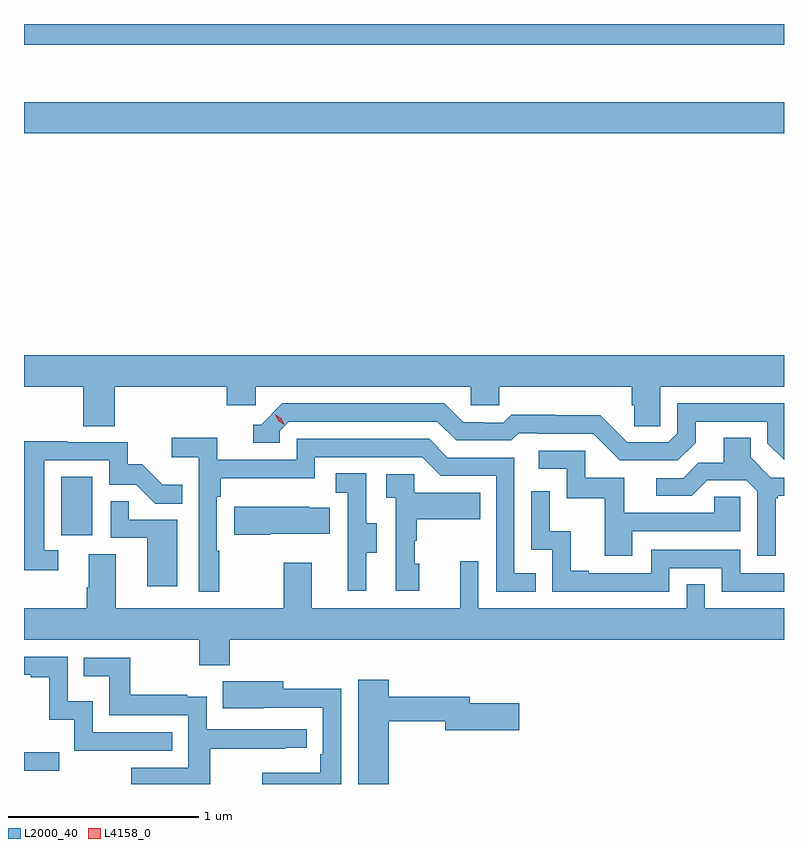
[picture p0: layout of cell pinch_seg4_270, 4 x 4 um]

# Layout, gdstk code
import gdstk
lib = gdstk.Library(unit=1e-6, precision=1e-09)
def R(c, l, rs):  # rectangles x0, y0, x1, y1
    for r in rs: c.add(gdstk.rectangle(r[:2], r[2:], *l))
def P(c, l, *ps):  # polygons
    for p in ps: c.add(gdstk.Polygon(p, *l))
L2000_40 = (2000, 40)
L4158_0 = (4158, 0)

pinch_seg4_270 = lib.new_cell('pinch_seg4_270')
R(pinch_seg4_270, L2000_40, [(923.699,818.775,923.884,818.872), (923.894,820.014,924.058,820.321), (923.699,822.128,927.699,822.292)])
P(pinch_seg4_270, L2000_40, [(927.699,822.704),(927.502,822.704),(927.502,822.702),(923.699,822.702),(923.699,822.594),(927.699,822.594)],
  [(923.699,820.796),(924.011,820.796),(924.011,820.588),(924.176,820.588),(924.176,820.796),(924.767,820.796),(924.767,820.698),(924.918,820.698),(924.918,820.796),(926.049,820.796),(926.049,820.698),(926.199,820.698),(926.199,820.796),(926.897,820.796),(926.897,820.698),(926.911,820.698),(926.911,820.588),(927.048,820.588),(927.048,820.796),(927.699,820.796),(927.699,820.96),(923.699,820.96)],
  [(927.235,820.501),(927.235,820.611),(927.612,820.611),(927.612,820.497),(927.699,820.41),(927.699,820.707),(927.138,820.707),(927.138,820.551),(927.09,820.503),(926.874,820.503),(926.732,820.645),(926.496,820.645),(926.496,820.648),(926.263,820.648),(926.221,820.605),(926.118,820.605),(926.118,820.608),(926.011,820.608),(925.912,820.707),(925.059,820.707),(924.948,820.596),(924.905,820.596),(924.905,820.5),(925.044,820.5),(925.044,820.563),(925.092,820.611),(925.875,820.611),(925.974,820.512),(926.263,820.512),(926.302,820.551),(926.401,820.551),(926.401,820.548),(926.694,820.548),(926.835,820.407),(927.141,820.407)],
  [(924.727,819.932),(924.714,819.932),(924.714,820.217),(924.734,820.217),(924.734,820.313),(925.23,820.313),(925.23,820.425),(925.794,820.425),(925.893,820.326),(926.184,820.326),(926.184,819.717),(926.393,819.717),(926.393,819.813),(926.28,819.813),(926.28,820.422),(925.93,820.422),(925.831,820.521),(925.134,820.521),(925.134,820.41),(924.716,820.41),(924.716,820.526),(924.477,820.526),(924.477,820.424),(924.618,820.424),(924.618,819.717),(924.727,819.717)],
  [(927.655,820.209),(927.667,820.209),(927.667,820.22),(927.699,820.22),(927.699,820.317),(927.63,820.317),(927.523,820.424),(927.523,820.526),(927.383,820.526),(927.383,820.394),(927.248,820.394),(927.168,820.314),(927.027,820.314),(927.027,820.221),(927.214,820.221),(927.295,820.302),(927.501,820.302),(927.558,820.245),(927.558,819.906),(927.655,819.906)],
  [(923.878,819.933),(923.805,819.933),(923.805,820.407),(924.147,820.407),(924.147,820.278),(924.291,820.278),(924.389,820.18),(924.533,820.18),(924.533,820.279),(924.429,820.279),(924.322,820.386),(924.246,820.386),(924.246,820.503),(923.927,820.503),(923.927,820.508),(923.699,820.508),(923.699,819.828),(923.878,819.828)],
  [(926.899,820.035),(927.468,820.035),(927.468,820.215),(927.331,820.215),(927.331,820.131),(926.857,820.131),(926.857,820.317),(926.652,820.317),(926.652,820.458),(926.409,820.458),(926.409,820.362),(926.556,820.362),(926.556,820.209),(926.755,820.209),(926.755,819.906),(926.899,819.906)],
  [(925.501,819.922),(925.555,819.922),(925.555,820.077),(925.5,820.077),(925.5,820.34),(925.341,820.34),(925.341,820.237),(925.404,820.237),(925.404,819.933),(925.403,819.933),(925.403,819.72),(925.501,819.72)],
  [(925.78,819.864),(925.755,819.864),(925.755,819.983),(925.765,819.983),(925.765,820.097),(926.099,820.097),(926.099,820.237),(925.752,820.237),(925.752,820.335),(925.605,820.335),(925.605,820.211),(925.656,820.211),(925.656,819.72),(925.78,819.72)],
  [(927.096,819.84),(927.372,819.84),(927.372,819.717),(927.699,819.717),(927.699,819.813),(927.468,819.813),(927.468,819.936),(927,819.936),(927,819.813),(926.671,819.813),(926.671,819.826),(926.576,819.826),(926.576,820.034),(926.466,820.034),(926.466,820.246),(926.37,820.246),(926.37,819.936),(926.478,819.936),(926.478,819.717),(927.096,819.717)],
  [(924.505,820.095),(924.251,820.095),(924.251,820.193),(924.156,820.193),(924.156,819.999),(924.347,819.999),(924.347,819.744),(924.505,819.744)],
  [(924.997,820.022),(925.307,820.022),(925.307,820.159),(925.199,820.159),(925.199,820.162),(924.806,820.162),(924.806,820.015),(924.997,820.015)],
  [(924.782,819.464),(927.699,819.464),(927.699,819.628),(927.282,819.628),(927.282,819.755),(927.186,819.755),(927.186,819.628),(926.091,819.628),(926.091,819.877),(925.994,819.877),(925.994,819.628),(925.213,819.628),(925.213,819.868),(925.066,819.868),(925.066,819.628),(924.181,819.628),(924.181,819.914),(924.041,819.914),(924.041,819.74),(924.029,819.74),(924.029,819.628),(923.699,819.628),(923.699,819.464),(924.622,819.464),(924.622,819.329),(924.782,819.329)],
  [(924.479,818.976),(924.06,818.976),(924.06,819.139),(923.928,819.139),(923.928,819.375),(923.699,819.375),(923.699,819.279),(923.735,819.279),(923.735,819.267),(923.831,819.267),(923.831,819.041),(923.964,819.041),(923.964,818.88),(924.479,818.88)],
  [(924.68,818.89),(925.073,818.89),(925.073,818.895),(925.186,818.895),(925.186,818.991),(924.66,818.991),(924.66,819.163),(924.557,819.163),(924.557,819.175),(924.259,819.175),(924.259,819.369),(924.013,819.369),(924.013,819.272),(924.148,819.272),(924.148,819.066),(924.564,819.066),(924.564,818.79),(924.263,818.79),(924.263,818.704),(924.68,818.704)],
  [(925.618,819.034),(925.916,819.034),(925.916,818.987),(926.305,818.987),(926.305,819.129),(926.044,819.129),(926.044,819.163),(925.618,819.163),(925.618,819.253),(925.457,819.253),(925.457,818.704),(925.618,818.704)],
  [(925.368,819.206),(925.063,819.206),(925.063,819.244),(924.745,819.244),(924.745,819.104),(924.959,819.104),(924.959,819.105),(925.272,819.105),(925.272,818.86),(925.259,818.86),(925.259,818.764),(924.954,818.764),(924.954,818.704),(925.368,818.704)])
P(pinch_seg4_270, L4158_0, [(925.067,820.597),(925.037,820.617),(925.021,820.649),(925.021,820.65),(925.022,820.65),(925.052,820.63),(925.068,820.597),(925.068,820.597)])

lib.write_gds('pinch_seg4_270.gds')
